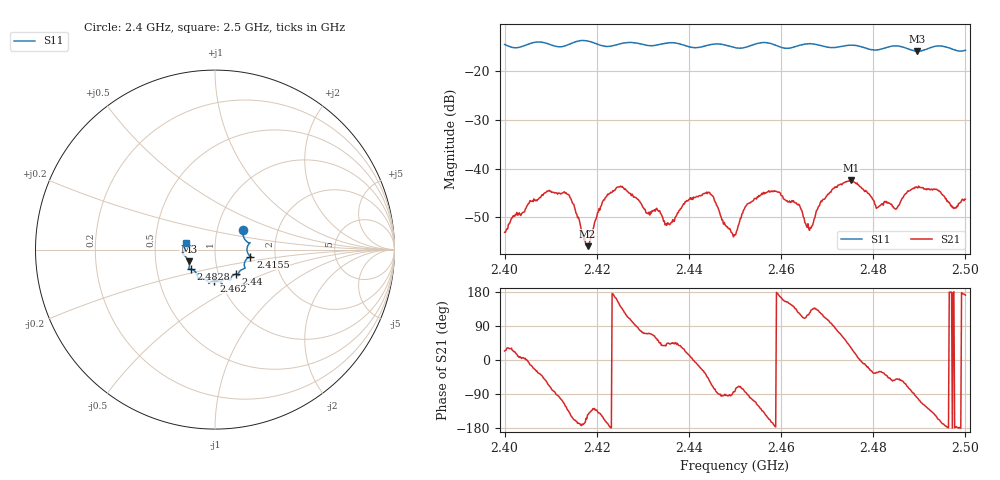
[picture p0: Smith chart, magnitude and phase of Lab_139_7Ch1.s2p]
# Hz S RI R 50
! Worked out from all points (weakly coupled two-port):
!   601 points, 2.4 GHz to 2.5 GHz, reference 50 ohm
!   highest |S21| = -42.40 dB at 2.4752 GHz (marker M1); lowest = -55.9 dB at 2.418 GHz (marker M2)
!   lowest |S11| = -15.9 dB at 2.4895 GHz (marker M3), VSWR 1.38, Z = 37 - j4.99 ohm
!   |S11| at or under -10 dB: start of sweep to end of sweep
!   S12 and S22 are empty: the file has one direction only
!   S11 on the Smith chart (normalised r, x): 2.4 GHz: 1.33, +0.29; 2.4155 GHz: 1.49, -0.12; 2.44 GHz: 1.21, -0.34; 2.462 GHz: 0.93, -0.33; 2.4828 GHz: 0.74, -0.17; 2.5 GHz: 0.72, +0.06
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2.4e9  0.1552 0.1066  0.00204 0.000902  0 0  0 0
2.4095e9  0.1881 0.0308  0.00246 -0.00541  0 0  0 0
2.4135e9  0.1835 -0.0213  -0.00339 -0.00436  0 0  0 0
2.4155e9  0.1974 -0.039  -0.00331 -0.0011  0 0  0 0
2.416667e9  0.2021 -0.0423  -0.00231 -0.000273  0 0  0 0
2.418e9  0.2001 -0.0415  -0.00132 -0.000919  0 0  0 0
2.421333e9  0.1727 -0.0565  -0.00406 -0.00228  0 0  0 0
2.424667e9  0.1639 -0.0937  -0.00572 0.00306  0 0  0 0
2.433333e9  0.1309 -0.1335  0.00228 0.00293  0 0  0 0
2.435667e9  0.1321 -0.1446  0.00194 0.00185  0 0  0 0
2.44e9  0.1142 -0.1368  0.00471 0.00108  0 0  0 0
2.444667e9  0.0847 -0.1673  0.00275 -0.00471  0 0  0 0
2.45e9  0.0644 -0.1624  0.000278 -0.00207  0 0  0 0
2.455667e9  0.0376 -0.1923  -0.00339 -0.0042  0 0  0 0
2.462e9  -0.005 -0.1731  -0.00381 0.00243  0 0  0 0
2.466667e9  -0.0344 -0.188  -0.00175 0.00189  0 0  0 0
2.469e9  -0.04 -0.1766  -0.00237 0.00416  0 0  0 0
2.475167e9  -0.0929 -0.1601  0.00641 0.00406  0 0  0 0
2.482833e9  -0.1364 -0.1096  0.00352 -0.003  0 0  0 0
2.483333e9  -0.1402 -0.1092  0.00306 -0.00321  0 0  0 0
2.4895e9  -0.1462 -0.0658  -0.001 -0.00636  0 0  0 0
2.5e9  -0.1594 0.0387  -0.0048 0.000766  0 0  0 0
